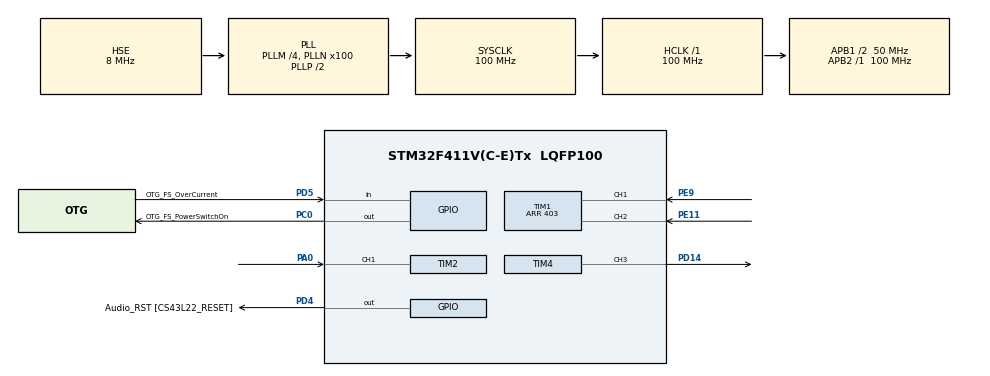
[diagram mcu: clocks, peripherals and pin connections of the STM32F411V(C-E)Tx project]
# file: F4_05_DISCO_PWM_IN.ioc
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Dma.Request0=TIM4_CH3
Dma.TIM4_CH3.0.Direction=DMA_MEMORY_TO_PERIPH
Dma.TIM4_CH3.0.FIFOMode=DMA_FIFOMODE_DISABLE
Dma.TIM4_CH3.0.Instance=DMA1_Stream7
Dma.TIM4_CH3.0.MemDataAlignment=DMA_MDATAALIGN_HALFWORD
Dma.TIM4_CH3.0.MemInc=DMA_MINC_ENABLE
Dma.TIM4_CH3.0.Mode=DMA_CIRCULAR
Dma.TIM4_CH3.0.PeriphDataAlignment=DMA_PDATAALIGN_HALFWORD
Dma.TIM4_CH3.0.PeriphInc=DMA_PINC_DISABLE
Dma.TIM4_CH3.0.Priority=DMA_PRIORITY_LOW
Mcu.Family=STM32F4
Mcu.Name=STM32F411V(C-E)Tx
Mcu.Package=LQFP100
NVIC.DMA1_Stream7_IRQn=true\:0\:0\:false\:false\:true\:false\:true\:true
NVIC.PriorityGroup=NVIC_PRIORITYGROUP_0
PA0-WKUP.Signal=S_TIM2_CH1_ETR
PA13.GPIO_Label=SWDIO
PA13.Mode=Serial_Wire
PA13.Signal=SYS_JTMS-SWDIO
PA14.GPIO_Label=SWCLK
PA14.Mode=Serial_Wire
PA14.Signal=SYS_JTCK-SWCLK
PB3.GPIO_Label=SWO
PB3.Signal=SYS_JTDO-SWO
PC0.GPIO_Label=OTG_FS_PowerSwitchOn
PC0.PinState=GPIO_PIN_SET
PC0.Signal=GPIO_Output
PC14-OSC32_IN.GPIO_Label=PC14-OSC32_IN
PC14-OSC32_IN.Signal=RCC_OSC32_IN
PC15-OSC32_OUT.GPIO_Label=PC15-OSC32_OUT
PC15-OSC32_OUT.Signal=RCC_OSC32_OUT
PD14.Signal=S_TIM4_CH3
PD4.GPIO_Label=Audio_RST [CS43L22_RESET]
PD4.Signal=GPIO_Output
PD5.GPIO_Label=OTG_FS_OverCurrent
PD5.Signal=GPIO_Input
PE11.Signal=S_TIM1_CH2
PE9.Signal=S_TIM1_CH1
PH0\ -\ OSC_IN.GPIO_Label=PH0-OSC_IN
PH0\ -\ OSC_IN.Mode=HSE-External-Oscillator
PH0\ -\ OSC_IN.Signal=RCC_OSC_IN
PH1\ -\ OSC_OUT.GPIO_Label=PH1-OSC_OUT
PH1\ -\ OSC_OUT.Mode=HSE-External-Oscillator
PH1\ -\ OSC_OUT.Signal=RCC_OSC_OUT
ProjectManager.HeapSize=0x200
ProjectManager.StackSize=0x400
ProjectManager.TargetToolchain=STM32CubeIDE
RCC.48MHZClocksFreq_Value=25000000
RCC.AHBFreq_Value=100000000
RCC.APB1CLKDivider=RCC_HCLK_DIV2
RCC.APB1Freq_Value=50000000
RCC.APB1TimFreq_Value=100000000
RCC.APB2Freq_Value=100000000
RCC.APB2TimFreq_Value=100000000
RCC.CortexFreq_Value=100000000
RCC.HCLKFreq_Value=100000000
RCC.HSE_VALUE=8000000
RCC.HSI_VALUE=16000000
RCC.LSE_VALUE=32768
RCC.PLLI2SM=5
RCC.PLLI2SN=200
RCC.PLLM=4
RCC.PLLN=100
RCC.PLLQ=8
RCC.PLLSourceVirtual=RCC_PLLSOURCE_HSE
RCC.SYSCLKFreq_VALUE=100000000
RCC.SYSCLKSource=RCC_SYSCLKSOURCE_PLLCLK
RCC.VCOOutputFreq_Value=200000000
SH.S_TIM1_CH1.0=TIM1_CH1,Encoder_Interface
SH.S_TIM1_CH2.0=TIM1_CH2,Encoder_Interface
SH.S_TIM2_CH1_ETR.0=TIM2_CH1,PWM_Input_1
SH.S_TIM4_CH3.0=TIM4_CH3,PWM Generation3 CH3
TIM1.EncoderMode=TIM_ENCODERMODE_TI12
TIM1.IC1Filter=15
TIM1.IC1Polarity=TIM_ICPOLARITY_FALLING
TIM1.IC2Filter=15
TIM1.Period=403
TIM2.ICFilter_1=0
TIM2.ICFilter_2=0
TIM2.Period=1999
TIM2.Prescaler=499
TIM4.Channel-PWM\ Generation3\ CH3=TIM_CHANNEL_3
TIM4.Period=99
TIM4.Prescaler=4999
VP_TIM2_VS_ClockSourceINT.Mode=Internal
VP_TIM4_VS_ClockSourceINT.Mode=Internal
board=STM32F411E-DISCO

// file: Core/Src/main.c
/* USER CODE BEGIN Header */
/**
  ******************************************************************************
  * @file           : main.c
  * @brief          : Main program body
  ******************************************************************************
  * @attention
  *
  * Copyright (c) 2023 STMicroelectronics.
  * All rights reserved.
  *
  * This software is licensed under terms that can be found in the LICENSE file
  * in the root directory of this software component.
  * If no LICENSE file comes with this software, it is provided AS-IS.
  *
  ******************************************************************************
  */
/* USER CODE END Header */
#include "main.h"
#include "dma.h"
#include "tim.h"
#include "gpio.h"

/* USER CODE BEGIN Includes */
#include <stdbool.h>
/* USER CODE END Includes */

/* USER CODE BEGIN PV */
volatile bool upper_limit = false;
volatile bool lower_limit = false;
volatile uint16_t Duty = 0;									// Wypelnienie generowanego sygnalu PWM

// Zmienne obslugujace wejsciowy sygnal PWM
volatile uint16_t InputPWMPeriod_cycles;					// Czas trwania calego okresu sygnalu [w cyklach zegara]
volatile uint16_t InputPWMPeriod_miliseconds;				// Czas trwania calego okresu sygnalu [ w milisekundach]
volatile uint16_t InputPWMDuty_cycles;						// Czas trwania stanu wysokiego [w cyklach zegara]
volatile uint16_t InputPWMDuty_percent;						// Wspolczynnik wypelnienia sygnalu PWM [w procentach]

const uint16_t InputTimerResolution_cycles = 2000;			// Rozdzielczosc zegara odczytujacego sygnal PWM [w cyklach zegara]
const uint16_t InputTimerPeriodDuration_miliseconds = 20;	// Czas trwania jednego okresu timera odczytujacego sygnal PWM [w milisekundach

// Zmienne do obslugi enkodera
volatile uint16_t pulse_count;								// liczba zliczonych impulsow
uint16_t pulse_count_previous;
/* USER CODE END PV */

void SystemClock_Config(void);

int main(void)
{

  /* MCU Configuration--------------------------------------------------------*/

  /* Reset of all peripherals, Initializes the Flash interface and the Systick. */
  HAL_Init();

  /* Configure the system clock */
  SystemClock_Config();

  /* Initialize all configured peripherals */
  MX_GPIO_Init();
  MX_DMA_Init();
  MX_TIM1_Init();
  MX_TIM2_Init();
  MX_TIM4_Init();
  /* USER CODE BEGIN 2 */
  HAL_TIM_IC_Start(&htim2, TIM_CHANNEL_1);
  HAL_TIM_IC_Start(&htim2, TIM_CHANNEL_2);
  HAL_TIM_PWM_Start_DMA(&htim4, TIM_CHANNEL_3, (uint32_t *) &Duty, 1);
  HAL_TIM_Encoder_Start(&htim1, TIM_CHANNEL_ALL);
  /* USER CODE END 2 */

  /* Infinite loop */
  /* USER CODE BEGIN WHILE */
  while (1)
  {
	  // Odczytanie wartosci enkodera i zeskalowanie do liczby "stabilnych pozycji"
	  pulse_count = (TIM1->CNT) / 4;

	  // Przypadek 1 BEGIN
	  // Ustawienie wypelnienia rownego odczytanej liczbie impulsow
	  //Duty = pulse_count;
	  // Przypadek 1 END

	  // Przypadek 2 BEGIN
	  // Ustawienie wypelnienia w zaleznosci od kierunku obrotu pokretla (dlaczego dodaje 4 przy przepelnieniu licznika)
	  if (pulse_count != pulse_count_previous) // ???
	  {
		  if (100 == Duty && !lower_limit)
		  {
			  upper_limit = true;

		  }
		  else if (0 == Duty && !upper_limit)
		  {
			  lower_limit = true;
		  }

		  if (upper_limit && ((pulse_count_previous < pulse_count) || (100 == pulse_count_previous && 0 == pulse_count)) )
		  {
			  Duty = 100;
		  }
		  else if (upper_limit && ((pulse_count_previous > pulse_count) || (0 == pulse_count_previous && 100 == pulse_count)) )
		  {
			  upper_limit = false;
			  Duty--;
		  }
		  else if (lower_limit && ((pulse_count_previous > pulse_count) || (0 == pulse_count_previous && 100 == pulse_count)) )
		  {
			  Duty = 0;
		  }
		  else if (lower_limit && ((pulse_count_previous < pulse_count) || (100 == pulse_count_previous && 0 == pulse_count)) )
		  {
			  lower_limit = false;
			  Duty++;
		  }
		  else if ( ( (pulse_count_previous < pulse_count) || (100 == pulse_count_previous && 0 == pulse_count) ) && !((0 == pulse_count_previous && 100 == pulse_count)) )
		  {
			  Duty++;
		  }
		  else if ( ( (pulse_count_previous > pulse_count) || (0 == pulse_count_previous && 100 == pulse_count) ) && !(100 == pulse_count_previous && 0 == pulse_count) )
		  {
			  Duty--;
		  }

	  }
	  pulse_count_previous = pulse_count;
	  // Przypadek 2 END

	  // odczytanie dlugosci trwania okresu sygnalu (w cyklach zegara)
	  InputPWMPeriod_cycles = HAL_TIM_ReadCapturedValue(&htim2, TIM_CHANNEL_1) + 1;

	  // odczytanie dlugosci trwania stanu wysopkiego w sygnale (w cyklach zegara)
	  InputPWMDuty_cycles = HAL_TIM_ReadCapturedValue(&htim2, TIM_CHANNEL_2) + 1;

	  // Przeliczenie dlugosci trwania okresu sygnalu na milisekundy
	  InputPWMPeriod_miliseconds = (uint16_t) (InputPWMPeriod_cycles * InputTimerPeriodDuration_miliseconds) / InputTimerResolution_cycles;

	  // Obliczenie procentu wypelnienia sygnalu PWM
	  InputPWMDuty_percent = (InputPWMDuty_cycles * 100) / InputPWMPeriod_cycles;
    /* USER CODE END WHILE */

  }
}

void SystemClock_Config(void)
{
  RCC_OscInitTypeDef RCC_OscInitStruct = {0};
  RCC_ClkInitTypeDef RCC_ClkInitStruct = {0};

  /** Configure the main internal regulator output voltage
  */
  __HAL_RCC_PWR_CLK_ENABLE();
  __HAL_PWR_VOLTAGESCALING_CONFIG(PWR_REGULATOR_VOLTAGE_SCALE1);

  /** Initializes the RCC Oscillators according to the specified parameters
  * in the RCC_OscInitTypeDef structure.
  */
  RCC_OscInitStruct.OscillatorType = RCC_OSCILLATORTYPE_HSE;
  RCC_OscInitStruct.HSEState = RCC_HSE_ON;
  RCC_OscInitStruct.PLL.PLLState = RCC_PLL_ON;
  RCC_OscInitStruct.PLL.PLLSource = RCC_PLLSOURCE_HSE;
  RCC_OscInitStruct.PLL.PLLM = 4;
  RCC_OscInitStruct.PLL.PLLN = 100;
  RCC_OscInitStruct.PLL.PLLP = RCC_PLLP_DIV2;
  RCC_OscInitStruct.PLL.PLLQ = 8;
  if (HAL_RCC_OscConfig(&RCC_OscInitStruct) != HAL_OK)
  {
    Error_Handler();
  }

  /** Initializes the CPU, AHB and APB buses clocks
  */
  RCC_ClkInitStruct.ClockType = RCC_CLOCKTYPE_HCLK|RCC_CLOCKTYPE_SYSCLK
                              |RCC_CLOCKTYPE_PCLK1|RCC_CLOCKTYPE_PCLK2;
  RCC_ClkInitStruct.SYSCLKSource = RCC_SYSCLKSOURCE_PLLCLK;
  RCC_ClkInitStruct.AHBCLKDivider = RCC_SYSCLK_DIV1;
  RCC_ClkInitStruct.APB1CLKDivider = RCC_HCLK_DIV2;
  RCC_ClkInitStruct.APB2CLKDivider = RCC_HCLK_DIV1;

  if (HAL_RCC_ClockConfig(&RCC_ClkInitStruct, FLASH_LATENCY_3) != HAL_OK)
  {
    Error_Handler();
  }
}

void Error_Handler(void)
{
  __disable_irq();
  while (1)
  {
  }
}
